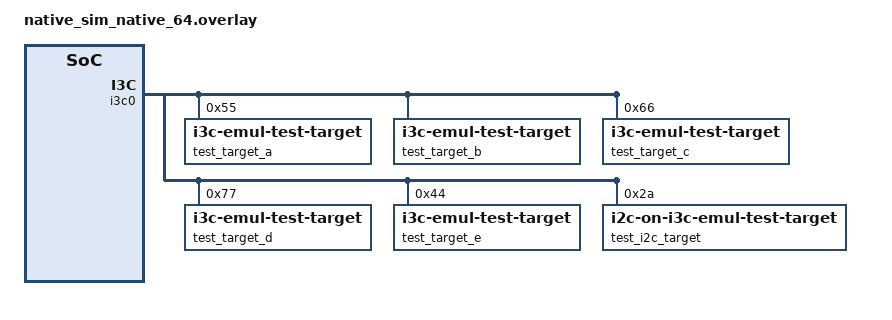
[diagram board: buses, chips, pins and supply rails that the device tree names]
/*
 * Copyright (c) 2026 Meta Platforms
 * SPDX-License-Identifier: Apache-2.0
 */

&i3c0 {
	/*
	 * Self-DA for the bus controller's target-mode endpoint.
	 * Intentionally equal to target_a's DA (which DAA assigns to
	 * 0x55 from its static_addr). The target-mode handoff tests
	 * use this aliasing: i3c_target_register() takes precedence
	 * over the peripheral, so GETACCCR addressed to peripheral A
	 * (via i3c_device_controller_handoff(desc_a, ...)) routes to
	 * the registered target_cfg in the test instead.
	 */
	primary-controller-da = <0x55>;

	test_target_a: target_a@550000123412345678 {
		compatible = "zephyr,i3c-emul-test-target";
		reg = <0x55 0x1234 0x12345678>;
		bcr = <0x00>;
		dcr = <0x6c>;
	};

	test_target_b: target_b@5678abcdef01 {
		compatible = "zephyr,i3c-emul-test-target";
		reg = <0x00 0x5678 0xabcdef01>;
		assigned-address = <0x42>;
		bcr = <0x00>;
		dcr = <0x6c>;
	};

	/*
	 * SETAASA-capable target. Has a static_addr and the
	 * supports-setaasa flag, so i3c_bus_init issues SETAASA
	 * (instead of SETDASA) and the peripheral self-assigns
	 * static_addr -> dynamic_addr in response.
	 */
	test_target_c: target_c@660000111222334455 {
		compatible = "zephyr,i3c-emul-test-target";
		reg = <0x66 0x1112 0x22334455>;
		supports-setaasa;
		bcr = <0x00>;
		dcr = <0x6c>;
	};

	/*
	 * HDR-DDR-capable target. BCR bit 5 (Advanced Capabilities)
	 * is set so the controller knows GETCAPS / HDR are supported.
	 * supports-hdr-ddr makes the peripheral advertise the bit in
	 * its GETCAPS Format 1 response and accept HDR-DDR private
	 * xfers (after the controller broadcasts ENTHDR0).
	 */
	test_target_d: target_d@7700009999aabbccdd {
		compatible = "zephyr,i3c-emul-test-target";
		reg = <0x77 0x9999 0xaabbccdd>;
		supports-hdr-ddr;
		bcr = <0x20>;
		dcr = <0x6c>;
	};

	/*
	 * Advanced-capabilities target that does NOT support HDR-DDR.
	 * BCR bit 5 is set (so a controller knows GETCAPS is meaningful),
	 * but the GETCAPS response carries no HDR-mode bits. Used to
	 * verify the bus emulator gates HDR-DDR on the cached GETCAPS
	 * bit and not just BCR.
	 */
	test_target_e: target_e@440000111122334456 {
		compatible = "zephyr,i3c-emul-test-target";
		reg = <0x44 0x1111 0x22334456>;
		bcr = <0x20>;
		dcr = <0x6c>;
	};

	/*
	 * Legacy-I2C-on-I3C peripheral. reg = <addr 0 lvr> per the
	 * i3c subsystem's i2c-device convention; the bus emulator
	 * routes its i2c_api.transfer to this node's standard
	 * struct i2c_emul, same as an i2c sensor emul would under
	 * a zephyr,i2c-emul-controller parent.
	 */
	test_i2c_target: i2c-target@2a0000000000000000 {
		compatible = "zephyr,i2c-on-i3c-emul-test-target";
		reg = <0x2a 0x00 0x00>;
	};
};
